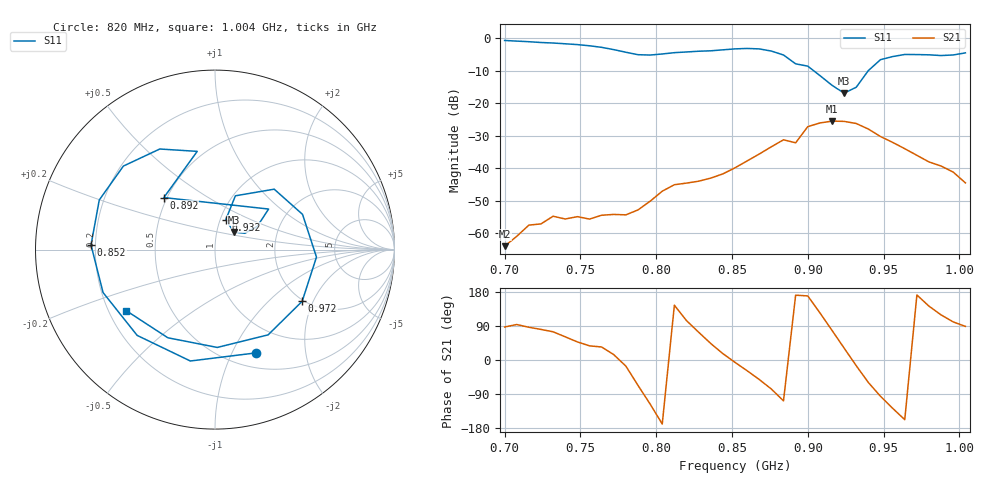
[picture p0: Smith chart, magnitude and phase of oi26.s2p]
# Hz S RI R 50
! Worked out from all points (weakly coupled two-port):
!   39 points, 700 MHz to 1.004 GHz, reference 50 ohm
!   highest |S21| = -25.49 dB at 916 MHz (marker M1); lowest = -64.1 dB at 700 MHz (marker M2)
!   lowest |S11| = -16.9 dB at 924 MHz (marker M3), VSWR 1.34, Z = 60.4 + j12.1 ohm
!   |S11| at or under -10 dB: 904.1 MHz to 939.8 MHz (35.77 MHz wide, 3.88 % of centre)
!   S12 and S22 are empty: the file has one direction only
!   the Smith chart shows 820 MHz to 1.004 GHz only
!   S11 on the Smith chart (normalised r, x): 820 MHz: 0.67, -1.24; 852 MHz: 0.18, +0.02; 892 MHz: 0.48, +0.33; 932 MHz: 1.06, +0.37; 972 MHz: 1.96, -1.66; 1.004 GHz: 0.27, -0.29
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7e8  0.7652 0.5321  3.13e-05 0.000626  0 0  0 0
7.24e8  0.8262 -0.2613  0.000223 0.00137  0 0  0 0
7.56e8  -0.1971 -0.746  0.0013 0.000995  0 0  0 0
7.72e8  -0.648 -0.1827  0.00188 0.000473  0 0  0 0
7.8e8  -0.5688 0.23  0.00183 -0.000529  0 0  0 0
7.96e8  0.2663 0.4871  -0.00136 -0.00277  0 0  0 0
8.04e8  0.5626 0.1261  -0.00433 -0.000851  0 0  0 0
8.2e8  0.229 -0.5754  -0.00141 0.00571  0 0  0 0
8.36e8  -0.4337 -0.4781  0.0051 0.00484  0 0  0 0
8.52e8  -0.6908 0.0253  0.0101 -0.0011  0 0  0 0
8.76e8  -0.3077 0.5605  0.00493 -0.0208  0 0  0 0
8.84e8  -0.099 0.5473  -0.00839 -0.0261  0 0  0 0
8.92e8  -0.2851 0.2898  -0.0243 0.00382  0 0  0 0
9e8  0.2985 0.226  -0.0429 0.00827  0 0  0 0
9.08e8  0.2353 0.1287  -0.0282 0.041  0 0  0 0
9.16e8  0.1665 0.0909  0.0109 0.0521  0 0  0 0
9.24e8  0.1048 0.098  0.045 0.0274  0 0  0 0
9.32e8  0.0601 0.1666  0.0472 -0.0127  0 0  0 0
9.56e8  0.4878 0.1963  -0.0152 -0.0199  0 0  0 0
9.72e8  0.4857 -0.2881  -0.0156 0.00231  0 0  0 0
9.88e8  0.0125 -0.5451  -0.00521 0.00945  0 0  0 0
1.004e9  -0.4932 -0.3411  0.000133 0.00593  0 0  0 0
